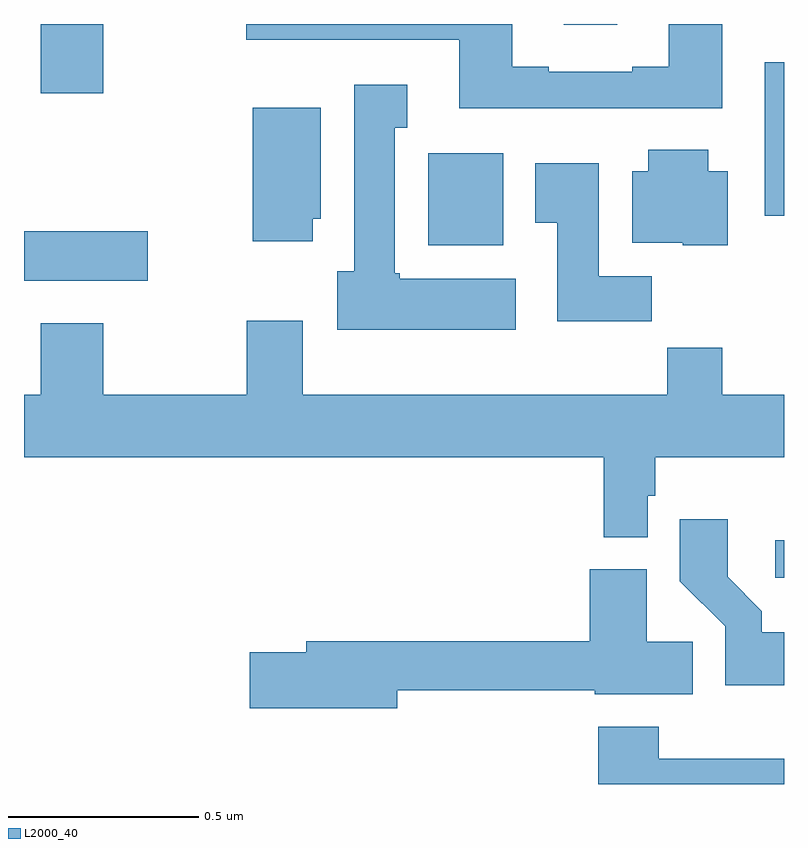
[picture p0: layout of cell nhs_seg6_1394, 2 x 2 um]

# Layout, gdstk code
import gdstk
lib = gdstk.Library(unit=1e-6, precision=1e-09)
def R(c, l, rs):  # rectangles x0, y0, x1, y1
    for r in rs: c.add(gdstk.rectangle(r[:2], r[2:], *l))
def P(c, l, *ps):  # polygons
    for p in ps: c.add(gdstk.Polygon(p, *l))
L2000_40 = (2000, 40)

nhs_seg6_1394 = lib.new_cell('nhs_seg6_1394')
R(nhs_seg6_1394, L2000_40, [(130.977,923.043,131,923.142), (129,923.825,129.325,923.955), (130.064,923.918,130.261,924.16), (130.949,923.996,131,924.4), (129.044,924.318,129.208,924.5), (130.421,924.498,130.561,924.5)])
P(nhs_seg6_1394, L2000_40, [(130.837,924.5),(130.697,924.5),(130.697,924.388),(130.601,924.388),(130.601,924.375),(130.381,924.375),(130.381,924.388),(130.285,924.388),(130.285,924.5),(129.585,924.5),(129.585,924.459),(130.145,924.459),(130.145,924.278),(130.837,924.278)],
  [(130.294,923.83),(129.989,923.83),(129.989,923.844),(129.976,923.844),(129.976,924.227),(130.009,924.227),(130.009,924.34),(129.869,924.34),(129.869,923.85),(129.824,923.85),(129.824,923.696),(130.294,923.696)],
  [(129.76,923.988),(129.781,923.988),(129.781,924.28),(129.602,924.28),(129.602,923.928),(129.76,923.928)],
  [(130.852,924.112),(130.801,924.112),(130.801,924.169),(130.643,924.169),(130.643,924.112),(130.601,924.112),(130.601,923.924),(130.734,923.924),(130.734,923.918),(130.852,923.918)],
  [(130.652,923.836),(130.513,923.836),(130.513,924.133),(130.346,924.133),(130.346,923.977),(130.403,923.977),(130.403,923.718),(130.652,923.718)],
  [(130.641,923.259),(130.661,923.259),(130.661,923.36),(131,923.36),(131,923.524),(130.837,923.524),(130.837,923.648),(130.693,923.648),(130.693,923.524),(129.733,923.524),(129.733,923.719),(129.586,923.719),(129.586,923.524),(129.208,923.524),(129.208,923.713),(129.044,923.713),(129.044,923.524),(129,923.524),(129,923.36),(130.525,923.36),(130.525,923.15),(130.641,923.15)],
  [(131,922.9),(130.942,922.9),(130.942,922.955),(130.852,923.045),(130.852,923.197),(130.726,923.197),(130.726,923.034),(130.845,922.915),(130.845,922.76),(131,922.76)],
  [(129.982,922.747),(130.502,922.747),(130.502,922.736),(130.76,922.736),(130.76,922.874),(130.639,922.874),(130.639,923.065),(130.489,923.065),(130.489,922.876),(129.743,922.876),(129.743,922.847),(129.594,922.847),(129.594,922.7),(129.982,922.7)],
  [(131,922.567),(130.671,922.567),(130.671,922.651),(130.511,922.651),(130.511,922.5),(131,922.5)])

lib.write_gds('nhs_seg6_1394.gds')
